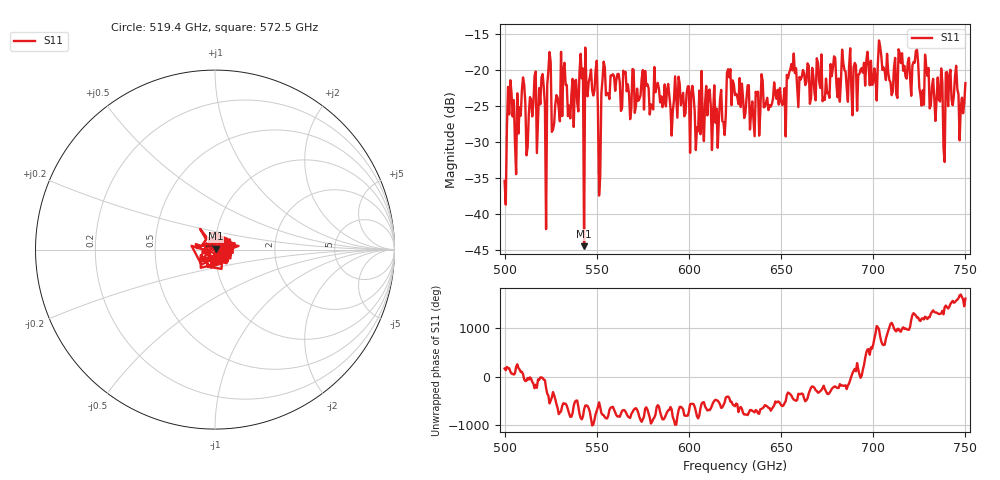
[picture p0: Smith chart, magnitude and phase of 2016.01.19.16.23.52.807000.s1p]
!Created with skrf (http://scikit-rf.org).
# GHz S RI R 50.0
!freq ReS11 ImS11
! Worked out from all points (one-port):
!   401 points, 500 GHz to 750 GHz, reference 50 ohm
!   lowest |S11| = -44.5 dB at 543.1 GHz (marker M1), VSWR 1.01, Z = 50.4 + j0.454 ohm
!   |S11| at or under -10 dB: start of sweep to end of sweep
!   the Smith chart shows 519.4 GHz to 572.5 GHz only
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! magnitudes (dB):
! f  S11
! 500 GHz  -35.4
! 503.1 GHz  -21.5
! 506.9 GHz  -23.3
! 509.4 GHz  -22.8
! 512.5 GHz  -30.7
! 520 GHz  -21.1
! 521.9 GHz  -24.9
! 524.4 GHz  -17.6
! 526.9 GHz  -27.5
! 531.2 GHz  -26.4
! 536.2 GHz  -23.4
! 541.2 GHz  -17.8
! 543.1 GHz  -44.5
! 548.8 GHz  -22.9
! 551.9 GHz  -34.8
! 553.8 GHz  -18.9
! 562.5 GHz  -21.8
! 593.8 GHz  -26.7
! 605 GHz  -28.5
! 625 GHz  -23.5
! 634.4 GHz  -24.4
! 651.2 GHz  -24.5
! 656.2 GHz  -20.1
! 687.5 GHz  -17.0
! 718.8 GHz  -19.0
! 737.5 GHz  -21.8
! 740.6 GHz  -25.1
! 750 GHz  -21.9
